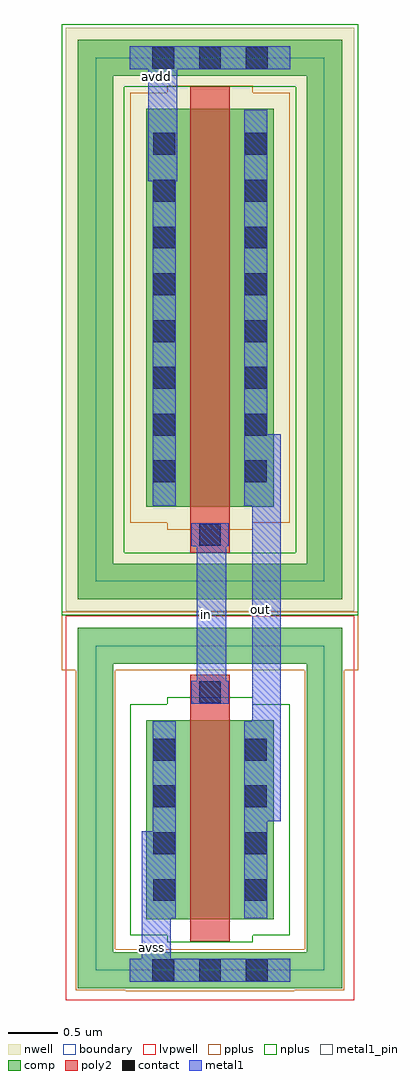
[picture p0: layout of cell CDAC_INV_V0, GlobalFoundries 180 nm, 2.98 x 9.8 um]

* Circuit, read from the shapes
.subckt CDAC_INV_V0 avdd avss in out
XM1 out in avss avss nfet_03v3 w=2u l=0.4u
XM2 out in avdd avdd pfet_03v3 w=4u l=0.4u
.ends

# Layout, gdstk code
import gdstk
lib = gdstk.Library(unit=1e-6, precision=1e-09)
def R(c, l, rs):  # rectangles x0, y0, x1, y1
    for r in rs: c.add(gdstk.rectangle(r[:2], r[2:], *l))
def A(c, l, x, y, w, h, nx, ny, dx, dy):  # array of equal rectangles
    R(c, l, [(x+i*dx, y+j*dy, x+i*dx+w, y+j*dy+h) for i in range(nx) for j in range(ny)])
boundary = (0, 0)
nwell = (21, 0)
comp = (22, 0)
poly2 = (30, 0)
pplus = (31, 0)
nplus = (32, 0)
contact = (33, 0)
metal1 = (34, 0)
metal1_pin = (34, 10)
lvpwell = (204, 0)

pfet_03v3_yxha8c = lib.new_cell('pfet_03v3_YXHA8C')
R(pfet_03v3_yxha8c, boundary, [(-1.15,-2.63,1.15,2.63)])
R(pfet_03v3_yxha8c, nwell, [(-1.45,-2.93,1.45,2.93)])
R(pfet_03v3_yxha8c, comp, [(-1.33,-2.81,1.33,-2.45), (-1.33,-2.45,-0.97,2.45), (0.97,-2.45,1.33,2.45), (-0.64,-1.88,0.64,2.12), (-1.33,2.45,1.33,2.81)])
R(pfet_03v3_yxha8c, poly2, [(-0.2,-2.34,0.2,2.34)])
R(pfet_03v3_yxha8c, pplus, [(-0.43,-2.11,0.43,-2.04), (-0.8,-2.04,0.8,2.28), (-0.43,2.28,0.43,2.35)])
R(pfet_03v3_yxha8c, nplus, [(-1.49,-2.97,1.49,-2.34), (-1.49,-2.34,-0.86,2.34), (0.86,-2.34,1.49,2.34), (-1.49,2.34,1.49,2.97)])
A(pfet_03v3_yxha8c, contact, -0.57, -1.635, 0.22, 0.22, 1, 8, 0, 0.47)
A(pfet_03v3_yxha8c, contact, 0.35, -1.635, 0.22, 0.22, 1, 8, 0, 0.47)
A(pfet_03v3_yxha8c, contact, -0.58, 2.52, 0.22, 0.22, 3, 1, 0.47, 0)
R(pfet_03v3_yxha8c, contact, [(-0.11,-2.27,0.11,-2.05)])
R(pfet_03v3_yxha8c, metal1, [(-0.19,-2.275,0.19,-2.045), (-0.575,-1.87,-0.345,2.11), (0.345,-1.87,0.575,2.11), (-0.805,2.515,0.805,2.745)])

nfet_03v3_q7us5r = lib.new_cell('nfet_03v3_Q7US5R')
R(nfet_03v3_q7us5r, boundary, [(-1.15,-1.63,1.15,1.63)])
R(nfet_03v3_q7us5r, comp, [(-1.33,-1.81,1.33,-1.45), (-1.33,-1.45,-0.97,1.45), (0.97,-1.45,1.33,1.45), (-0.64,-1.12,0.64,0.88), (-1.33,1.45,1.33,1.81)])
R(nfet_03v3_q7us5r, poly2, [(-0.2,-1.34,0.2,1.34)])
R(nfet_03v3_q7us5r, pplus, [(-0.845,-1.84,0.845,-1.83), (-1.35,-1.83,1.35,-1.42), (-1.35,-1.42,-0.95,1.43), (0.95,-1.42,1.35,1.43), (-1.35,1.43,1.35,1.83)])
R(nfet_03v3_q7us5r, nplus, [(-0.43,-1.35,0.43,-1.28), (-0.8,-1.28,0.8,1.04), (-0.43,1.04,0.43,1.11)])
A(nfet_03v3_q7us5r, contact, -0.58, -1.74, 0.22, 0.22, 3, 1, 0.47, 0)
A(nfet_03v3_q7us5r, contact, -0.57, -0.935, 0.22, 0.22, 1, 4, 0, 0.47)
A(nfet_03v3_q7us5r, contact, 0.35, -0.935, 0.22, 0.22, 1, 4, 0, 0.47)
R(nfet_03v3_q7us5r, contact, [(-0.11,1.05,0.11,1.27)])
R(nfet_03v3_q7us5r, metal1, [(-0.805,-1.745,0.805,-1.515), (-0.575,-1.11,-0.345,0.87), (0.345,-1.11,0.575,0.87), (-0.19,1.045,0.19,1.275)])
R(nfet_03v3_q7us5r, lvpwell, [(-1.45,-1.93,1.45,1.93)])

cdac_inv_v0 = lib.new_cell('CDAC_INV_V0')
R(cdac_inv_v0, pplus, [(4.775,-3.285,4.915,-2.84), (5.315,-3.285,7.215,-3.24), (7.615,-3.285,7.755,-2.84), (4.775,-2.84,7.755,-2.7)])
R(cdac_inv_v0, metal1, [(5.58,-6.245,5.87,-4.905), (6.69,-4.805,6.975,-0.915), (6.13,-3.555,6.43,-1.98), (5.645,1.625,5.935,2.965)])
R(cdac_inv_v0, metal1_pin, [(5.65,-6.1,5.7,-6.05), (6.2,-2.75,6.25,-2.7), (6.75,-2.7,6.8,-2.65), (5.7,2.65,5.75,2.7)])
cdac_inv_v0.add(gdstk.Reference(pfet_03v3_yxha8c, (6.265,0.235)))
cdac_inv_v0.add(gdstk.Reference(nfet_03v3_q7us5r, (6.265,-4.67)))
cdac_inv_v0.add(gdstk.Label('avdd', (5.725,2.675), layer=34, texttype=10))
cdac_inv_v0.add(gdstk.Label('in', (6.225,-2.725), layer=34, texttype=10))
cdac_inv_v0.add(gdstk.Label('out', (6.775,-2.675), layer=34, texttype=10))
cdac_inv_v0.add(gdstk.Label('avss', (5.675,-6.075), layer=34, texttype=10))

lib.write_gds('CDAC_INV_V0.gds')
